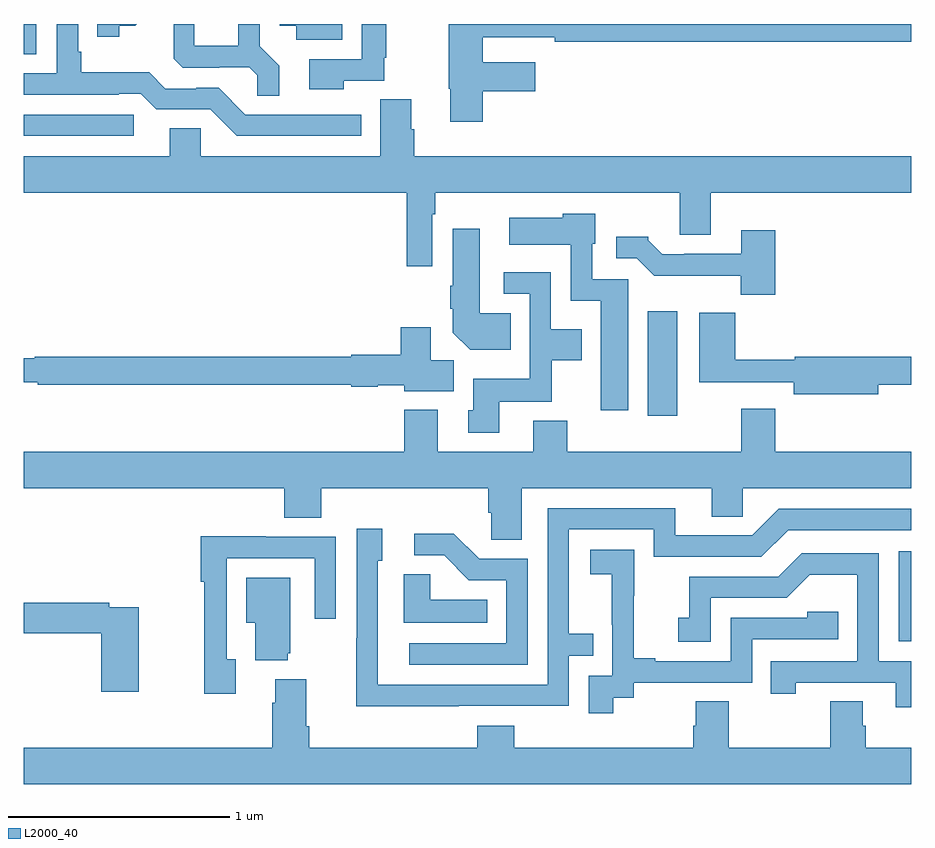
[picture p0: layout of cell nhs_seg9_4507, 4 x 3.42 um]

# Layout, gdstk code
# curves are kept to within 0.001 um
import gdstk
lib = gdstk.Library(unit=1e-6, precision=1e-09)
def R(c, l, rs):  # rectangles x0, y0, x1, y1
    for r in rs: c.add(gdstk.rectangle(r[:2], r[2:], *l))
def P(c, l, *ps):  # polygons
    for p in ps: c.add(gdstk.Polygon(p, *l))
L2000_40 = (2000, 40)

nhs_seg9_4507 = lib.new_cell('nhs_seg9_4507')
R(nhs_seg9_4507, L2000_40, [(372.942,1207.719,373,1208.125), (371.813,1208.736,371.944,1209.205), (369,1209.996,369.496,1210.092), (369,1210.363,369.057,1210.5)])
P(nhs_seg9_4507, L2000_40, [(370.435,1210.5),(370.154,1210.5),(370.154,1210.493),(370.229,1210.493),(370.229,1210.43),(370.435,1210.43)],
  [(370.151,1210.313),(370.065,1210.399),(370.065,1210.5),(369.968,1210.5),(369.968,1210.402),(369.77,1210.402),(369.77,1210.5),(369.676,1210.5),(369.676,1210.343),(369.717,1210.302),(369.882,1210.302),(369.882,1210.305),(370.016,1210.305),(370.053,1210.268),(370.053,1210.177),(370.151,1210.177)],
  [(371.069,1210.198),(371.305,1210.198),(371.305,1210.327),(371.069,1210.327),(371.069,1210.44),(371.392,1210.44),(371.392,1210.42),(373,1210.42),(373,1210.5),(370.915,1210.5),(370.915,1210.209),(370.922,1210.209),(370.922,1210.059),(371.069,1210.059)],
  [(370.522,1210.092),(369.999,1210.092),(369.879,1210.212),(369.778,1210.212),(369.778,1210.209),(369.639,1210.209),(369.566,1210.282),(369.259,1210.282),(369.259,1210.375),(369.246,1210.375),(369.246,1210.5),(369.15,1210.5),(369.15,1210.278),(369,1210.278),(369,1210.182),(369.428,1210.182),(369.428,1210.185),(369.528,1210.185),(369.597,1210.116),(369.84,1210.116),(369.96,1209.996),(370.522,1209.996)],
  [(370.443,1210.245),(370.625,1210.245),(370.625,1210.348),(370.633,1210.348),(370.633,1210.5),(370.524,1210.5),(370.524,1210.341),(370.287,1210.341),(370.287,1210.205),(370.443,1210.205)],
  [(369.432,1210.493),(369.502,1210.493),(369.509,1210.5),(369.331,1210.5),(369.331,1210.443),(369.432,1210.443)],
  [(370.747,1210.026),(370.747,1210.16),(370.607,1210.16),(370.607,1209.904),(369.798,1209.904),(369.798,1210.031),(369.659,1210.031),(369.659,1209.904),(369,1209.904),(369,1209.74),(370.726,1209.74),(370.726,1209.408),(370.842,1209.408),(370.842,1209.644),(370.855,1209.644),(370.855,1209.74),(371.957,1209.74),(371.957,1209.55),(372.097,1209.55),(372.097,1209.74),(373,1209.74),(373,1209.904),(370.76,1209.904),(370.76,1210.026)],
  [(371.725,1209.351),(371.562,1209.351),(371.562,1209.51),(371.575,1209.51),(371.575,1209.646),(371.43,1209.646),(371.43,1209.628),(371.187,1209.628),(371.187,1209.506),(371.466,1209.506),(371.466,1209.254),(371.6,1209.254),(371.6,1208.76),(371.725,1208.76)],
  [(371.195,1209.196),(371.056,1209.196),(371.056,1209.577),(370.934,1209.577),(370.934,1209.32),(370.922,1209.32),(370.922,1209.217),(370.934,1209.217),(370.934,1209.11),(371.012,1209.032),(371.195,1209.032)],
  [(372.386,1209.571),(372.233,1209.571),(372.233,1209.465),(371.977,1209.465),(371.977,1209.462),(371.878,1209.462),(371.814,1209.526),(371.814,1209.541),(371.67,1209.541),(371.67,1209.444),(371.763,1209.444),(371.842,1209.366),(372.231,1209.366),(372.231,1209.281),(372.386,1209.281)],
  [(371.143,1208.798),(371.379,1208.798),(371.379,1208.984),(371.515,1208.984),(371.515,1209.124),(371.376,1209.124),(371.376,1209.381),(371.163,1209.381),(371.163,1209.285),(371.28,1209.285),(371.28,1208.902),(371.027,1208.902),(371.027,1208.76),(371.003,1208.76),(371.003,1208.658),(371.143,1208.658)],
  [(372.85,1208.874),(373,1208.874),(373,1209.002),(372.474,1209.002),(372.474,1208.987),(372.206,1208.987),(372.206,1209.199),(372.044,1209.199),(372.044,1208.886),(372.47,1208.886),(372.47,1208.831),(372.85,1208.831)],
  [(370.939,1208.984),(370.834,1208.984),(370.834,1209.133),(370.7,1209.133),(370.7,1209.01),(370.476,1209.01),(370.476,1209.002),(369.05,1209.002),(369.05,1208.995),(369,1208.995),(369,1208.886),(369.064,1208.886),(369.064,1208.874),(370.476,1208.874),(370.476,1208.866),(370.596,1208.866),(370.596,1208.873),(370.716,1208.873),(370.716,1208.846),(370.939,1208.846)],
  [(372.101,1208.281),(372.24,1208.281),(372.24,1208.408),(373,1208.408),(373,1208.572),(372.386,1208.572),(372.386,1208.767),(372.233,1208.767),(372.233,1208.572),(371.45,1208.572),(371.45,1208.713),(371.297,1208.713),(371.297,1208.572),(370.867,1208.572),(370.867,1208.761),(370.715,1208.761),(370.715,1208.572),(369,1208.572),(369,1208.408),(370.175,1208.408),(370.175,1208.275),(370.34,1208.275),(370.34,1208.408),(371.093,1208.408),(371.093,1208.299),(371.106,1208.299),(371.106,1208.176),(371.245,1208.176),(371.245,1208.408),(372.101,1208.408)],
  [(370.961,1207.428),(371.457,1207.428),(371.457,1207.653),(371.567,1207.653),(371.567,1207.754),(371.457,1207.754),(371.457,1208.223),(371.838,1208.223),(371.838,1208.1),(372.324,1208.1),(372.444,1208.22),(373,1208.22),(373,1208.316),(372.402,1208.316),(372.282,1208.196),(371.935,1208.196),(371.935,1208.319),(371.361,1208.319),(371.361,1207.524),(370.596,1207.524),(370.596,1208.082),(370.615,1208.082),(370.615,1208.227),(370.5,1208.227),(370.5,1207.733),(370.498,1207.733),(370.498,1207.427)],
  [(371.271,1208.091),(371.052,1208.091),(370.939,1208.204),(370.761,1208.204),(370.761,1208.106),(370.895,1208.106),(371.006,1207.995),(371.175,1207.995),(371.175,1207.71),(370.737,1207.71),(370.737,1207.614),(371.271,1207.614)],
  [(369.955,1207.638),(369.915,1207.638),(369.915,1208.094),(370.311,1208.094),(370.311,1207.821),(370.407,1207.821),(370.407,1208.19),(370.091,1208.19),(370.091,1208.192),(369.799,1208.192),(369.799,1207.987),(369.814,1207.987),(369.814,1207.482),(369.955,1207.482)],
  [(371.656,1207.465),(371.748,1207.465),(371.748,1207.533),(372.282,1207.533),(372.282,1207.728),(372.671,1207.728),(372.671,1207.851),(372.531,1207.851),(372.531,1207.824),(372.186,1207.824),(372.186,1207.629),(371.845,1207.629),(371.845,1207.642),(371.75,1207.642),(371.75,1207.925),(371.751,1207.925),(371.751,1208.131),(371.553,1208.131),(371.553,1208.021),(371.651,1208.021),(371.651,1207.793),(371.652,1207.793),(371.652,1207.563),(371.547,1207.563),(371.547,1207.395),(371.656,1207.395)],
  [(373,1207.629),(372.852,1207.629),(372.852,1208.115),(372.506,1208.115),(372.401,1208.01),(371.998,1208.01),(371.998,1207.825),(371.949,1207.825),(371.949,1207.716),(372.096,1207.716),(372.096,1207.914),(372.438,1207.914),(372.542,1208.018),(372.756,1208.018),(372.756,1207.629),(372.367,1207.629),(372.367,1207.482),(372.478,1207.482),(372.478,1207.533),(372.929,1207.533),(372.929,1207.422),(373,1207.422)],
  [(371.09,1207.906),(370.833,1207.906),(370.833,1208.021),(370.712,1208.021),(370.712,1207.802),(371.09,1207.802)],
  [(370.19,1207.665),(370.201,1207.665),(370.201,1208.005),(370.004,1208.005),(370.004,1207.802),(370.043,1207.802),(370.043,1207.634),(370.19,1207.634)],
  [(369.52,1207.872),(369.386,1207.872),(369.386,1207.892),(369,1207.892),(369,1207.756),(369.35,1207.756),(369.35,1207.491),(369.52,1207.491)],
  [(373,1207.24),(372.794,1207.24),(372.794,1207.338),(372.781,1207.338),(372.781,1207.448),(372.634,1207.448),(372.634,1207.24),(372.177,1207.24),(372.177,1207.448),(372.029,1207.448),(372.029,1207.338),(372.017,1207.338),(372.017,1207.24),(371.21,1207.24),(371.21,1207.339),(371.045,1207.339),(371.045,1207.24),(370.286,1207.24),(370.286,1207.336),(370.273,1207.336),(370.273,1207.549),(370.133,1207.549),(370.133,1207.442),(370.121,1207.442),(370.121,1207.24),(369,1207.24),(369,1207.076),(373,1207.076)])

lib.write_gds('nhs_seg9_4507.gds')
